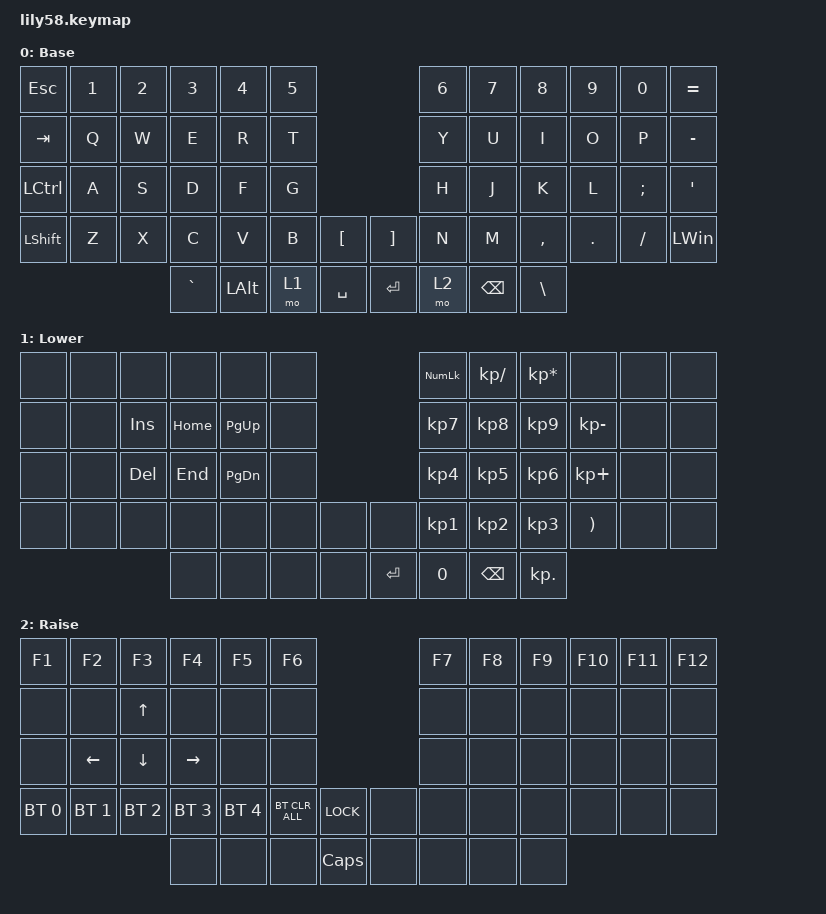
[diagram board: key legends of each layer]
/*
 * Copyright (c) 2020 The ZMK Contributors
 *
 * SPDX-License-Identifier: MIT
 */

#include <behaviors.dtsi>
#include <dt-bindings/zmk/bt.h>
#include <dt-bindings/zmk/keys.h>

/ {
    keymap {
        compatible = "zmk,keymap";

        default_layer {
            // ------------------------------------------------------------------------------------------------------------
            // |  ESC  |  1  |  2  |  3   |  4   |  5   |                   |  6   |  7    |  8    |  9   |   0   |   `   |
            // |  TAB  |  Q  |  W  |  E   |  R   |  T   |                   |  Y   |  U    |  I    |  O   |   P   |   -   |
            // |  CTRL |  A  |  S  |  D   |  F   |  G   |                   |  H   |  J    |  K    |  L   |   ;   |   '   |
            // | SHIFT |  Z  |  X  |  C   |  V   |  B   |   "["  |  |  "]"  |  N   |  M    |  ,    |  .   |   /   | SHIFT |
            //                     | ALT  | GUI  | LOWER|  SPACE |  | ENTER | RAISE| BSPC  | GUI   |

            label = "Base";
            bindings = <
&kp ESC    &kp N1  &kp N2  &kp N3     &kp N4        &kp N5                         &kp N6  &kp N7         &kp N8         &kp N9   &kp N0    &kp EQUAL
&kp TAB    &kp Q   &kp W   &kp E      &kp R         &kp T                          &kp Y   &kp U          &kp I          &kp O    &kp P     &kp MINUS
&kp LCTRL  &kp A   &kp S   &kp D      &kp F         &kp G                          &kp H   &kp J          &kp K          &kp L    &kp SEMI  &kp SQT
&kp LSHFT  &kp Z   &kp X   &kp C      &kp V         &kp B   &kp LBKT     &kp RBKT  &kp N   &kp M          &kp COMMA      &kp DOT  &kp FSLH  &kp LEFT_WIN
                           &kp GRAVE  &kp LEFT_ALT  &mo 1   &kp SPACE    &kp RET   &mo 2   &kp BACKSPACE  &kp BACKSLASH
            >;
        };

        lower_layer {
            // ------------------------------------------------------------------------------------------------------------
            // | BTCLR | BT1 | BT2 |  BT3 |  BT4 |  BT5 |                   |      |       |       |      |       |       |
            // |  F1   |  F2 |  F3 |  F4  |  F5  |  F6  |                   |  F7  |  F8   |  F9   |  F10 |  F11  |  F12  |
            // |   `   |  !  |  @  |  #   |  $   |  %   |                   |  ^   |  &    |  *    |  (   |   )   |   ~   |
            // |       |     |     |      |      |      |        |  |       |      |  _    |  +    |  {   |   }   |  "|"  |
            //                     |      |      |      |        |  |       |      |       |       |

            label = "Lower";
            bindings = <
&none  &none  &none       &none     &none          &none                      &kp KP_NUMLOCK   &kp KP_DIVIDE    &kp KP_MULTIPLY  &none                  &none  &none
&none  &none  &kp INSERT  &kp HOME  &kp PG_UP      &none                      &kp KP_NUMBER_7  &kp KP_NUMBER_8  &kp KP_NUMBER_9  &kp KP_MINUS           &none  &none
&none  &none  &kp DELETE  &kp END   &kp PAGE_DOWN  &none                      &kp KP_NUMBER_4  &kp KP_NUMBER_5  &kp KP_NUMBER_6  &kp KP_PLUS            &none  &none
&none  &none  &none       &none     &none          &none  &none    &none      &kp KP_NUMBER_1  &kp KP_NUMBER_2  &kp KP_NUMBER_3  &kp RIGHT_PARENTHESIS  &none  &none
                          &none     &none          &none  &none    &kp ENTER  &kp N0           &kp BACKSPACE    &kp KP_DOT
            >;
        };

        raise_layer {
            // ------------------------------------------------------------------------------------------------------------
            // |       |     |     |      |      |      |                   |      |       |       |      |       |       |
            // |   `   |  1  |  2  |  3   |  4   |  5   |                   |  6   |   7   |   8   |  9   |   0   |       |
            // |   F1  |  F2 |  F3 |  F4  |  F5  |  F6  |                   |      |   <-  |   v   |  ^   |  ->   |       |
            // |   F7  |  F8 |  F9 |  F10 |  F11 |  F12 |        |  |       |  +   |   -   |   =   |  [   |   ]   |   \   |
            //                     |      |      |      |        |  |       |      |       |       |

            label = "Raise";
            bindings = <
&kp F1        &kp F2        &kp F3          &kp F4        &kp F5        &kp F6                                 &kp F7  &kp F8  &kp F9  &kp F10  &kp F11  &kp F12
&none         &none         &kp UP_ARROW    &none         &none         &none                                  &none   &none   &none   &none    &none    &none
&none         &kp LEFT      &kp DOWN_ARROW  &kp RIGHT     &none         &none                                  &none   &none   &none   &none    &none    &none
&bt BT_SEL 0  &bt BT_SEL 1  &bt BT_SEL 2    &bt BT_SEL 3  &bt BT_SEL 4  &bt BT_CLR_ALL  &kp K_LOCK      &none  &none   &none   &none   &none    &none    &none
                                            &none         &none         &none           &kp CAPSLOCK    &none  &none   &none   &none
            >;
        };
    };
};
